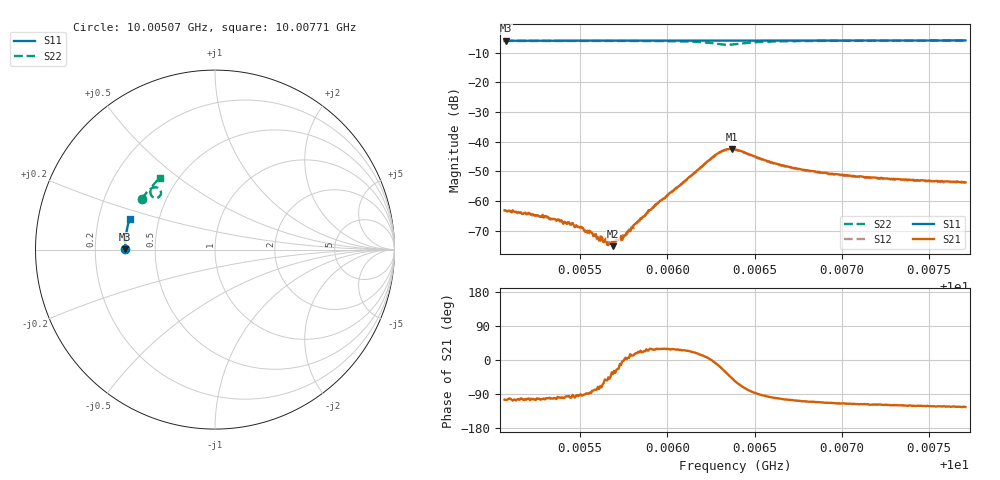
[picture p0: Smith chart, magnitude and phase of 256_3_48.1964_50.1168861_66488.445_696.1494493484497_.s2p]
#  HZ  S  RI  R  50.00
! Rohde & Schwarz Vector Network Analyzer
! Rohde-Schwarz,ZNB20-2Port,1311601062101988,3.16
! Created: UTC 3/20/2024, 11:47:34 AM
! freq[Hz]  re:S11  im:S11  re:S21  im:S21  re:S12  im:S12  re:S22  im:S22
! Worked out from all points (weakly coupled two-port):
!   401 points, 10.00507 GHz to 10.00771 GHz, reference 50 ohm
!   highest |S21| = -42.48 dB at 10.00637 GHz (marker M1); lowest = -75.3 dB at 10.00569 GHz (marker M2)
!   lowest |S11| = -6.0 dB at 10.00507 GHz (marker M3), VSWR 3.00, Z = 16.7 + j0.113 ohm
!   |S11| at or under -10 dB: nowhere
!   |S22| runs from -7.4 to -6.0 dB; largest |S21 - S12| = 0.00043
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1.0005066e10  -0.4998 0.00202  -0.000174 -0.000671  -0.00013 -0.000681  -0.4067 0.2818
1.0005073e10  -0.4998 0.00254  -0.000183 -0.000663  -0.000131 -0.000674  -0.4065 0.2823
1.0005298e10  -0.4999 0.017  -0.000135 -0.000538  -0.000106 -0.000493  -0.398 0.2956
1.0005384e10  -0.5 0.0228  -6.97e-05 -0.000444  -3.25e-05 -0.000467  -0.3944 0.3007
1.0005509e10  -0.4997 0.0307  -2.53e-05 -0.000361  1.27e-05 -0.000331  -0.3887 0.3082
1.0005535e10  -0.4996 0.0325  1.09e-05 -0.000299  1.15e-05 -0.000304  -0.3874 0.3097
1.0005555e10  -0.4996 0.0338  2.19e-05 -0.000312  2.41e-05 -0.000282  -0.3865 0.3111
1.0005621e10  -0.4995 0.038  7.56e-05 -0.000239  7.15e-05 -0.000192  -0.3832 0.3152
1.0005635e10  -0.4994 0.039  9.9e-05 -0.000175  0.000111 -0.000174  -0.3826 0.3157
1.0005674e10  -0.4994 0.0415  0.000138 -0.000134  0.000158 -0.000114  -0.3805 0.3184
1.0005687e10  -0.4992 0.0423  0.000137 -0.000105  0.000166 -8.13e-05  -0.3797 0.3192
1.0005753e10  -0.4991 0.0466  0.00026 6.33e-06  0.000264 4.43e-05  -0.376 0.3234
1.000582e10  -0.4985 0.051  0.000401 0.000131  0.00038 0.00011  -0.3718 0.3277
1.0005952e10  -0.498 0.0594  0.00083 0.000464  0.000808 0.000503  -0.3616 0.3364
1.0006275e10  -0.4951 0.0803  0.00588 -0.000804  0.00578 -0.000527  -0.3036 0.3288
1.0006328e10  -0.4946 0.0834  0.00628 -0.00355  0.00632 -0.00319  -0.3035 0.3043
1.0006368e10  -0.4942 0.0857  0.00508 -0.00554  0.00523 -0.00518  -0.318 0.2903
1.0006388e10  -0.4942 0.0868  0.00413 -0.0061  0.00433 -0.00576  -0.3269 0.2879
1.0006632e10  -0.4924 0.1026  -0.000793 -0.0041  -0.00062 -0.00401  -0.3591 0.3298
1.000683e10  -0.4899 0.1152  -0.00112 -0.00298  -0.000942 -0.00296  -0.3503 0.3501
1.0007273e10  -0.4836 0.1431  -0.00112 -0.00207  -0.00102 -0.00209  -0.328 0.3781
1.0007709e10  -0.4757 0.1701  -0.00114 -0.0017  -0.00105 -0.00174  -0.3057 0.3993
